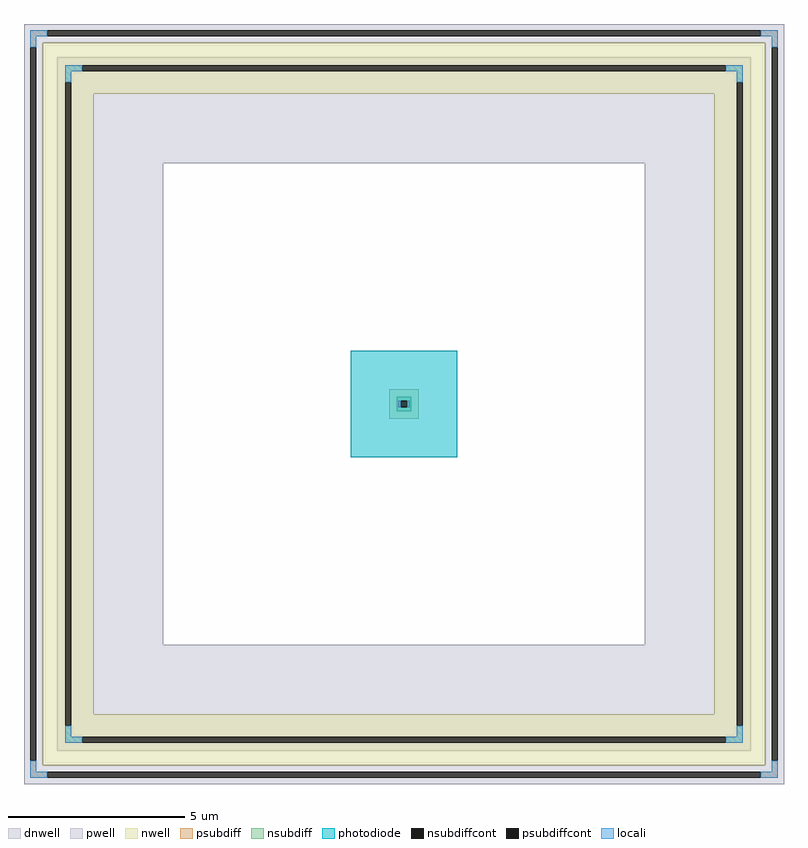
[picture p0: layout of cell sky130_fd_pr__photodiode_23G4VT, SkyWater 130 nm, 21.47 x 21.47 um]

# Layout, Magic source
magic
tech sky130A
magscale 1 2
<< dnwell >>
rect -1960 1360 1960 1960
rect -1960 -1360 -1360 1360
rect 1360 -1360 1960 1360
rect -1960 -1960 1960 -1360
<< photodiode >>
rect -300 -300 300 300
<< nwell >>
rect -2040 1754 2040 2040
rect -2040 -1754 -1754 1754
rect -84 -84 84 84
rect 1754 -1754 2040 1754
rect -2040 -2040 2040 -1754
<< pwell >>
rect -2147 2041 2147 2147
rect -2147 -2041 -2041 2041
rect 2041 -2041 2147 2041
rect -2147 -2147 2147 -2041
<< psubdiff >>
rect -2111 2077 -2015 2111
rect 2015 2077 2111 2111
rect -2111 2015 -2077 2077
rect 2077 2015 2111 2077
rect -2111 -2077 -2077 -2015
rect 2077 -2077 2111 -2015
rect -2111 -2111 -2015 -2077
rect 2015 -2111 2111 -2077
<< nsubdiff >>
rect -1914 1880 -1818 1914
rect 1818 1880 1914 1914
rect -1914 1818 -1880 1880
rect 1880 1818 1914 1880
rect -41 17 41 41
rect -41 -17 -17 17
rect 17 -17 41 17
rect -41 -41 41 -17
rect -1914 -1880 -1880 -1818
rect 1880 -1880 1914 -1818
rect -1914 -1914 -1818 -1880
rect 1818 -1914 1914 -1880
<< psubdiffcont >>
rect -2015 2077 2015 2111
rect -2111 -2015 -2077 2015
rect 2077 -2015 2111 2015
rect -2015 -2111 2015 -2077
<< nsubdiffcont >>
rect -1818 1880 1818 1914
rect -1914 -1818 -1880 1818
rect -17 -17 17 17
rect 1880 -1818 1914 1818
rect -1818 -1914 1818 -1880
<< locali >>
rect -2111 2077 -2015 2111
rect 2015 2077 2111 2111
rect -2111 2015 -2077 2077
rect 2077 2015 2111 2077
rect -1914 1880 -1818 1914
rect 1818 1880 1914 1914
rect -1914 1818 -1880 1880
rect 1880 1818 1914 1880
rect -33 -17 -17 17
rect 17 -17 33 17
rect -1914 -1880 -1880 -1818
rect 1880 -1880 1914 -1818
rect -1914 -1914 -1818 -1880
rect 1818 -1914 1914 -1880
rect -2111 -2077 -2077 -2015
rect 2077 -2077 2111 -2015
rect -2111 -2111 -2015 -2077
rect 2015 -2111 2111 -2077
<< properties >>
string FIXED_BBOX -2094 -2094 2094 2094
string gencell sky130_fd_pr__photodiode
string library sky130
string parameters nx 1 ny 1 deltax 0 deltay 0 xstep 8.0 ystep 8.0
<< end >>
